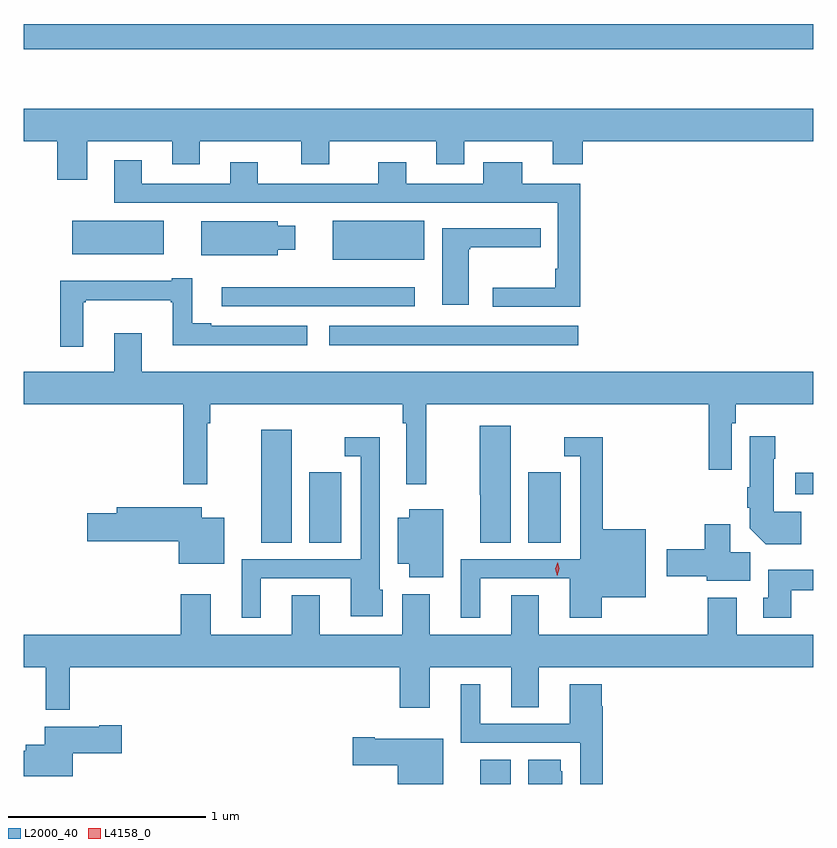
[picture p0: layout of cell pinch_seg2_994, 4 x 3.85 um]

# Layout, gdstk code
import gdstk
lib = gdstk.Library(unit=1e-6, precision=1e-09)
def R(c, l, rs):  # rectangles x0, y0, x1, y1
    for r in rs: c.add(gdstk.rectangle(r[:2], r[2:], *l))
def P(c, l, *ps):  # polygons
    for p in ps: c.add(gdstk.Polygon(p, *l))
L2000_40 = (2000, 40)
L4158_0 = (4158, 0)

pinch_seg2_994 = lib.new_cell('pinch_seg2_994')
R(pinch_seg2_994, L2000_40, [(314.735,616.409,314.89,616.532), (313.625,617.632,313.78,618.202), (313.868,617.632,314.032,617.989), (314.978,617.632,315.142,617.989), (316.329,617.877,316.422,617.986), (313.971,618.632,315.232,618.729), (313.425,618.828,314.404,618.925), (313.988,619.064,314.452,619.261), (312.668,619.091,313.132,619.261), (312.422,620.13,316.422,620.258)])
P(pinch_seg2_994, L2000_40, [(312.745,619.664),(313.175,619.664),(313.175,619.547),(313.315,619.547),(313.315,619.664),(313.829,619.664),(313.829,619.547),(313.969,619.547),(313.969,619.664),(314.513,619.664),(314.513,619.547),(314.653,619.547),(314.653,619.664),(315.101,619.664),(315.101,619.547),(315.254,619.547),(315.254,619.664),(316.422,619.664),(316.422,619.828),(312.422,619.828),(312.422,619.664),(312.593,619.664),(312.593,619.47),(312.745,619.47)],
  [(315.242,619.449),(314.947,619.449),(314.947,619.558),(314.75,619.558),(314.75,619.449),(314.359,619.449),(314.359,619.558),(314.219,619.558),(314.219,619.449),(313.609,619.449),(313.609,619.558),(313.469,619.558),(313.469,619.449),(313.021,619.449),(313.021,619.567),(312.881,619.567),(312.881,619.353),(315.126,619.353),(315.126,619.018),(315.114,619.018),(315.114,618.923),(314.799,618.923),(314.799,618.825),(315.242,618.825)],
  [(313.71,619.115),(313.798,619.115),(313.798,619.237),(313.71,619.237),(313.71,619.258),(313.322,619.258),(313.322,619.088),(313.71,619.088)],
  [(314.677,619.116),(314.685,619.116),(314.685,619.127),(315.041,619.127),(315.041,619.223),(314.933,619.223),(314.933,619.224),(314.543,619.224),(314.543,618.837),(314.677,618.837)],
  [(312.724,618.849),(312.736,618.849),(312.736,618.86),(313.167,618.86),(313.167,618.849),(313.178,618.849),(313.178,618.632),(313.858,618.632),(313.858,618.729),(313.372,618.729),(313.372,618.742),(313.276,618.742),(313.276,618.97),(313.172,618.97),(313.172,618.958),(312.607,618.958),(312.607,618.624),(312.724,618.624)],
  [(313.021,618.691),(312.881,618.691),(312.881,618.496),(312.422,618.496),(312.422,618.332),(313.231,618.332),(313.231,617.928),(313.352,617.928),(313.352,618.236),(313.367,618.236),(313.367,618.332),(314.341,618.332),(314.341,618.236),(314.36,618.236),(314.36,617.928),(314.462,617.928),(314.462,618.332),(315.892,618.332),(315.892,618),(316.008,618),(316.008,618.236),(316.028,618.236),(316.028,618.332),(316.422,618.332),(316.422,618.496),(313.021,618.496)],
  [(314.89,618.223),(314.732,618.223),(314.732,617.874),(314.735,617.874),(314.735,617.632),(314.89,617.632)],
  [(316.361,617.788),(316.222,617.788),(316.222,618.056),(316.23,618.056),(316.23,618.169),(316.1,618.169),(316.1,617.912),(316.088,617.912),(316.088,617.809),(316.1,617.809),(316.1,617.705),(316.181,617.624),(316.361,617.624)],
  [(313.624,617.451),(314.078,617.451),(314.078,617.258),(314.242,617.258),(314.242,617.394),(314.226,617.394),(314.226,617.94),(314.227,617.94),(314.227,618.166),(314.049,618.166),(314.049,618.069),(314.13,618.069),(314.13,617.547),(313.526,617.547),(313.526,617.25),(313.624,617.25)],
  [(314.734,617.451),(315.188,617.451),(315.188,617.25),(315.35,617.25),(315.35,617.354),(315.574,617.354),(315.574,617.698),(315.356,617.698),(315.356,618.166),(315.159,618.166),(315.159,618.069),(315.24,618.069),(315.24,617.547),(314.636,617.547),(314.636,617.25),(314.734,617.25)],
  [(313.438,617.758),(313.324,617.758),(313.324,617.81),(312.893,617.81),(312.893,617.78),(312.744,617.78),(312.744,617.638),(313.208,617.638),(313.208,617.525),(313.438,617.525)],
  [(314.548,617.8),(314.375,617.8),(314.375,617.758),(314.318,617.758),(314.318,617.525),(314.375,617.525),(314.375,617.456),(314.548,617.456)],
  [(316.102,617.582),(316,617.582),(316,617.725),(315.871,617.725),(315.871,617.597),(315.678,617.597),(315.678,617.462),(315.882,617.462),(315.882,617.438),(316.102,617.438)],
  [(316.309,617.39),(316.422,617.39),(316.422,617.494),(316.193,617.494),(316.193,617.352),(316.169,617.352),(316.169,617.25),(316.309,617.25)],
  [(312.655,617),(314.327,617),(314.327,616.794),(314.479,616.794),(314.479,617),(314.891,617),(314.891,616.798),(315.031,616.798),(315.031,617),(316.422,617),(316.422,617.164),(316.033,617.164),(316.033,617.353),(315.886,617.353),(315.886,617.164),(315.031,617.164),(315.031,617.366),(314.891,617.366),(314.891,617.164),(314.479,617.164),(314.479,617.371),(314.339,617.371),(314.339,617.164),(313.921,617.164),(313.921,617.366),(313.781,617.366),(313.781,617.164),(313.369,617.164),(313.369,617.371),(313.217,617.371),(313.217,617.164),(312.422,617.164),(312.422,617),(312.533,617),(312.533,616.784),(312.655,616.784)],
  [(315.356,616.802),(315.35,616.802),(315.35,616.915),(315.188,616.915),(315.188,616.713),(314.734,616.713),(314.734,616.915),(314.636,616.915),(314.636,616.617),(315.24,616.617),(315.24,616.409),(315.356,616.409)],
  [(312.67,616.565),(312.919,616.565),(312.919,616.707),(312.806,616.707),(312.806,616.699),(312.53,616.699),(312.53,616.609),(312.434,616.609),(312.434,616.577),(312.422,616.577),(312.422,616.448),(312.67,616.448)],
  [(314.548,616.639),(314.2,616.639),(314.2,616.647),(314.088,616.647),(314.088,616.505),(314.318,616.505),(314.318,616.409),(314.548,616.409)],
  [(315.151,616.473),(315.142,616.473),(315.142,616.532),(314.978,616.532),(314.978,616.409),(315.151,616.409)])
P(pinch_seg2_994, L4158_0, [(315.124,617.464),(315.124,617.464),(315.115,617.499),(315.127,617.533),(315.127,617.533),(315.127,617.533),(315.135,617.498),(315.124,617.464)])

lib.write_gds('pinch_seg2_994.gds')
